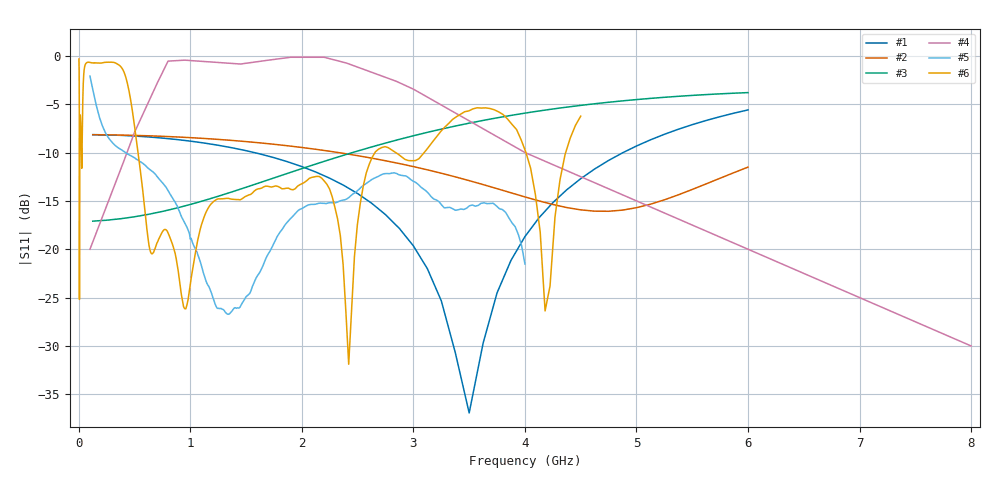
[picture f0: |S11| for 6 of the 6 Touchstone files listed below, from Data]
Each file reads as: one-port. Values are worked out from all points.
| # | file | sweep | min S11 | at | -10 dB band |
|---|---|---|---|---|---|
| 1 | ADRV9009_ORX.s1p | 125 MHz to 6 GHz | -36.9 dB | 3.5 GHz | 3.31 GHz wide |
| 2 | ADRV9009_RX.s1p | 125 MHz to 6 GHz | -16.1 dB | 4.75 GHz | over 3.676 GHz wide |
| 3 | ADRV9009_TX.s1p | 125 MHz to 6 GHz | -17.1 dB | 125 MHz | over 2.331 GHz wide |
| 4 | Gain.s1p | 100 MHz to 8 GHz | -30.0 dB | 8 GHz | over 4 GHz wide |
| 5 | SL511_R1_2_U1_Att00.s1p | 100 MHz to 4 GHz | -26.7 dB | 1.342 GHz | over 3.583 GHz wide |
| 6 | Sma-3p9-att0.0.s1p | 1 MHz to 4.5 GHz | -31.9 dB | 2.42 GHz | 2.125 GHz wide |
